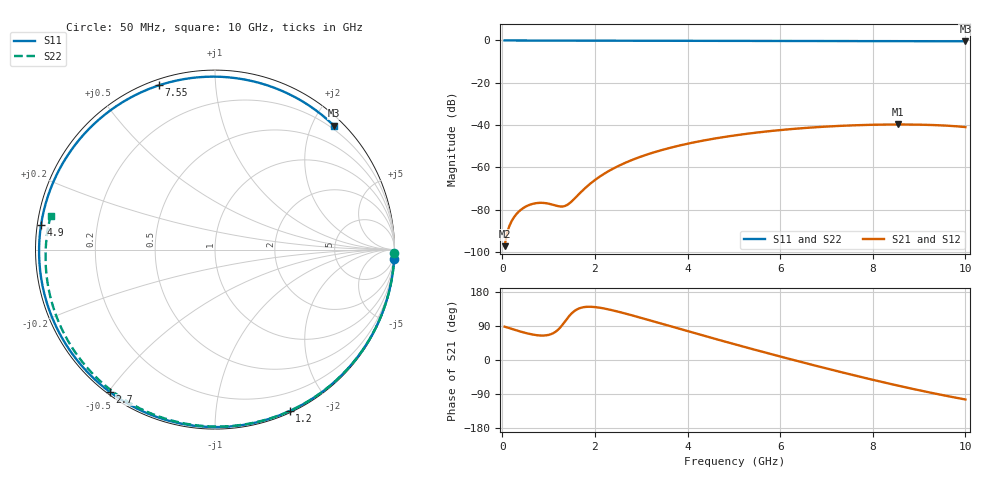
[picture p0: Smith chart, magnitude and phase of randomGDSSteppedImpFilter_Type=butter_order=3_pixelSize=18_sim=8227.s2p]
! freq	dB(S11)	phase(S11)	dB(S12)	phase(S12)
!  dB(S21)	phase(S21)	dB(S22)	phase(S22)
!S-par simulation data
#  GHz  S  DB  R 50
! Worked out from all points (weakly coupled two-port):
!   200 points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, 50 MHz to 10 GHz, reference 50 ohm
!   highest |S21| = -39.72 dB at 8.55 GHz (marker M1); lowest = -97.2 dB at 50 MHz (marker M2)
!   lowest |S11| = -0.4 dB at 10 GHz (marker M3), VSWR 45.30, Z = 7.14 + j117 ohm
!   |S11| at or under -10 dB: nowhere
!   |S22| runs from -0.6 to 0.0 dB; largest |S21 - S12| = 0
!   S11 on the Smith chart (normalised r, x): 50 MHz: 0, -39; 1.2 GHz: 0.02, -1.56; 2.7 GHz: 0.01, -0.50; 4.9 GHz: 0.01, +0.07; 7.55 GHz: 0.03, +0.72; 10 GHz: 0.14, +2.33
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0.05  -0.00 -2.9  -97.24 88.0  -97.24 88.0  -0.00 -1.2
0.4  -0.03 -22.9  -80.07 74.7  -80.07 74.7  -0.01 -9.1
0.55  -0.04 -31.2  -78.06 69.9  -78.06 69.9  -0.02 -12.5
0.7  -0.05 -39.4  -77.03 66.3  -77.03 66.3  -0.02 -15.9
0.85  -0.06 -47.4  -76.76 64.5  -76.76 64.5  -0.02 -19.2
1.2  -0.08 -65.2  -78.30 79.4  -78.30 79.4  -0.04 -27.1
1.3  -0.08 -70.0  -78.50 93.0  -78.50 93.0  -0.04 -29.3
1.4  -0.09 -74.8  -77.76 109.3  -77.76 109.3  -0.04 -31.5
1.75  -0.10 -90.4  -70.60 139.3  -70.60 139.3  -0.05 -39.1
2.15  -0.11 -106.6  -63.70 137.0  -63.70 137.0  -0.06 -47.7
2.7  -0.12 -126.4  -57.41 121.2  -57.41 121.2  -0.08 -59.3
3.4  -0.14 -148.4  -52.08 97.2  -52.08 97.2  -0.10 -73.5
4.1  -0.16 -167.9  -48.35 72.8  -48.35 72.8  -0.12 -87.1
4.9  -0.18 171.8  -45.27 45.5  -45.27 45.5  -0.15 -102.1
5.05  -0.19 168.2  -44.79 40.5  -44.79 40.5  -0.16 -104.9
5.85  -0.22 149.1  -42.69 14.1  -42.69 14.1  -0.20 -119.1
6.7  -0.26 129.1  -41.12 -13.0  -41.12 -13.0  -0.25 -133.9
7.55  -0.29 108.8  -40.14 -39.0  -40.14 -39.0  -0.32 -148.4
8.35  -0.32 89.2  -39.74 -62.2  -39.74 -62.2  -0.40 -162.1
8.55  -0.33 84.2  -39.72 -67.8  -39.72 -67.8  -0.42 -165.5
9.3  -0.36 65.0  -39.98 -87.5  -39.98 -87.5  -0.50 -178.7
10  -0.38 46.2  -40.95 -104.1  -40.95 -104.1  -0.58 168.6
